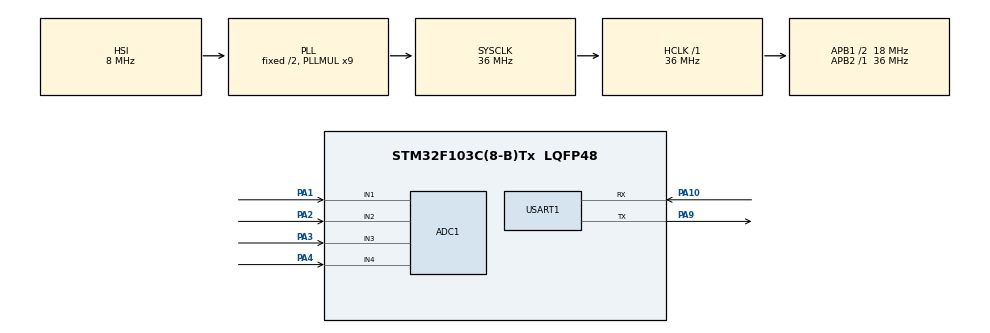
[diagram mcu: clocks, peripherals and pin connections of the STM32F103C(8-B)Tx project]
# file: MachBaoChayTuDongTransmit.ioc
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ADC1.Channel-0\#ChannelRegularConversion=ADC_CHANNEL_1
ADC1.Channel-1\#ChannelRegularConversion=ADC_CHANNEL_2
ADC1.Channel-2\#ChannelRegularConversion=ADC_CHANNEL_3
ADC1.Channel-3\#ChannelRegularConversion=ADC_CHANNEL_4
ADC1.ContinuousConvMode=ENABLE
ADC1.NbrOfConversion=4
ADC1.NbrOfConversionFlag=1
ADC1.Rank-0\#ChannelRegularConversion=1
ADC1.Rank-1\#ChannelRegularConversion=2
ADC1.Rank-2\#ChannelRegularConversion=3
ADC1.Rank-3\#ChannelRegularConversion=4
ADC1.SamplingTime-0\#ChannelRegularConversion=ADC_SAMPLETIME_239CYCLES_5
ADC1.SamplingTime-1\#ChannelRegularConversion=ADC_SAMPLETIME_239CYCLES_5
ADC1.SamplingTime-2\#ChannelRegularConversion=ADC_SAMPLETIME_239CYCLES_5
ADC1.SamplingTime-3\#ChannelRegularConversion=ADC_SAMPLETIME_239CYCLES_5
ADC1.master=1
Dma.ADC1.0.Direction=DMA_PERIPH_TO_MEMORY
Dma.ADC1.0.Instance=DMA1_Channel1
Dma.ADC1.0.MemDataAlignment=DMA_MDATAALIGN_HALFWORD
Dma.ADC1.0.MemInc=DMA_MINC_ENABLE
Dma.ADC1.0.Mode=DMA_CIRCULAR
Dma.ADC1.0.PeriphDataAlignment=DMA_PDATAALIGN_HALFWORD
Dma.ADC1.0.PeriphInc=DMA_PINC_DISABLE
Dma.ADC1.0.Priority=DMA_PRIORITY_LOW
Dma.Request0=ADC1
Mcu.Family=STM32F1
Mcu.Name=STM32F103C(8-B)Tx
Mcu.Package=LQFP48
NVIC.DMA1_Channel1_IRQn=true\:0\:0\:false\:false\:true\:false\:true\:true
NVIC.PriorityGroup=NVIC_PRIORITYGROUP_4
PA1.Signal=ADCx_IN1
PA10.Mode=Asynchronous
PA10.Signal=USART1_RX
PA13.Mode=Serial_Wire
PA13.Signal=SYS_JTMS-SWDIO
PA14.Mode=Serial_Wire
PA14.Signal=SYS_JTCK-SWCLK
PA2.Signal=ADCx_IN2
PA3.Signal=ADCx_IN3
PA4.Signal=ADCx_IN4
PA9.Mode=Asynchronous
PA9.Signal=USART1_TX
PD0-OSC_IN.Mode=HSE-External-Oscillator
PD0-OSC_IN.Signal=RCC_OSC_IN
PD1-OSC_OUT.Mode=HSE-External-Oscillator
PD1-OSC_OUT.Signal=RCC_OSC_OUT
ProjectManager.HeapSize=0x200
ProjectManager.StackSize=0x400
ProjectManager.TargetToolchain=STM32CubeIDE
RCC.ADCPresc=RCC_ADCPCLK2_DIV4
RCC.AHBFreq_Value=36000000
RCC.APB1CLKDivider=RCC_HCLK_DIV2
RCC.APB1Freq_Value=18000000
RCC.APB1TimFreq_Value=36000000
RCC.APB2Freq_Value=36000000
RCC.APB2TimFreq_Value=36000000
RCC.HCLKFreq_Value=36000000
RCC.PLLMUL=RCC_PLL_MUL9
RCC.SYSCLKFreq_VALUE=36000000
RCC.SYSCLKSource=RCC_SYSCLKSOURCE_PLLCLK
RCC.USBFreq_Value=36000000
SH.ADCx_IN1.0=ADC1_IN1,IN1
SH.ADCx_IN2.0=ADC1_IN2,IN2
SH.ADCx_IN3.0=ADC1_IN3,IN3
SH.ADCx_IN4.0=ADC1_IN4,IN4
TIM1.Period=1000
TIM1.Prescaler=8000
USART1.VirtualMode=VM_ASYNC
VP_TIM1_VS_ClockSourceINT.Mode=Internal
board=custom

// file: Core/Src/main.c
/* USER CODE BEGIN Header */
/**
 ******************************************************************************
 * @file           : main.c
 * @brief          : Main program body
 ******************************************************************************
 * @attention
 *
 * Copyright (c) 2024 STMicroelectronics.
 * All rights reserved.
 *
 * This software is licensed under terms that can be found in the LICENSE file
 * in the root directory of this software component.
 * If no LICENSE file comes with this software, it is provided AS-IS.
 *
 ******************************************************************************
 */
/* USER CODE END Header */
#include "main.h"

/* USER CODE BEGIN Includes */
#include <stdio.h>
#include <string.h>
#include <stdlib.h>
/* USER CODE END Includes */

ADC_HandleTypeDef hadc1;
DMA_HandleTypeDef hdma_adc1;

TIM_HandleTypeDef htim1;

UART_HandleTypeDef huart1;

/* USER CODE BEGIN PV */
uint16_t NhietDo, Khoi, KhiGas, Lua;
uint16_t QuetADC4Kenh[4];
char MangKiTuGuiDi[50];
/* USER CODE END PV */

void SystemClock_Config(void);
static void MX_GPIO_Init(void);
static void MX_DMA_Init(void);
static void MX_ADC1_Init(void);
static void MX_TIM1_Init(void);
static void MX_USART1_UART_Init(void);
/* USER CODE BEGIN PFP */
void ADC_Config(void);
void Read_ADC(void);
/* USER CODE END PFP */

int main(void)
{

	/* MCU Configuration--------------------------------------------------------*/

	/* Reset of all peripherals, Initializes the Flash interface and the Systick. */
	HAL_Init();

	/* Configure the system clock */
	SystemClock_Config();

	/* Initialize all configured peripherals */
	MX_GPIO_Init();
	MX_DMA_Init();
	MX_ADC1_Init();
	MX_TIM1_Init();
	MX_USART1_UART_Init();
	/* USER CODE BEGIN 2 */
	HAL_ADC_Start_DMA(&hadc1, (uint32_t*) QuetADC4Kenh, 4);
	/* USER CODE END 2 */

	/* Infinite loop */
	while (1)
	{

		/* USER CODE BEGIN 3 */
		NhietDo = 	(QuetADC4Kenh[0] * 500 / 4095);
		KhiGas 	= 	(QuetADC4Kenh[1] * 100 / 4095);
		Khoi 	= 	((QuetADC4Kenh[2]) * 100 / 4095);
		Lua 	= 	((4095 - QuetADC4Kenh[3]) * 100 / 4095);
		sprintf(MangKiTuGuiDi, "s%d %d %d %d\n", NhietDo, Khoi, KhiGas, Lua);
		HAL_UART_Transmit(&huart1, (uint8_t*) MangKiTuGuiDi,sizeof(MangKiTuGuiDi), HAL_MAX_DELAY);
		HAL_Delay(50);
	}
	/* USER CODE END 3 */
}

void SystemClock_Config(void)
{
	RCC_OscInitTypeDef RCC_OscInitStruct =
	{ 0 };
	RCC_ClkInitTypeDef RCC_ClkInitStruct =
	{ 0 };
	RCC_PeriphCLKInitTypeDef PeriphClkInit =
	{ 0 };

	/** Initializes the RCC Oscillators according to the specified parameters
	 * in the RCC_OscInitTypeDef structure.
	 */
	RCC_OscInitStruct.OscillatorType = RCC_OSCILLATORTYPE_HSI;
	RCC_OscInitStruct.HSIState = RCC_HSI_ON;
	RCC_OscInitStruct.HSICalibrationValue = RCC_HSICALIBRATION_DEFAULT;
	RCC_OscInitStruct.PLL.PLLState = RCC_PLL_ON;
	RCC_OscInitStruct.PLL.PLLSource = RCC_PLLSOURCE_HSI_DIV2;
	RCC_OscInitStruct.PLL.PLLMUL = RCC_PLL_MUL9;
	if (HAL_RCC_OscConfig(&RCC_OscInitStruct) != HAL_OK)
	{
		Error_Handler();
	}

	/** Initializes the CPU, AHB and APB buses clocks
	 */
	RCC_ClkInitStruct.ClockType = RCC_CLOCKTYPE_HCLK | RCC_CLOCKTYPE_SYSCLK
			| RCC_CLOCKTYPE_PCLK1 | RCC_CLOCKTYPE_PCLK2;
	RCC_ClkInitStruct.SYSCLKSource = RCC_SYSCLKSOURCE_PLLCLK;
	RCC_ClkInitStruct.AHBCLKDivider = RCC_SYSCLK_DIV1;
	RCC_ClkInitStruct.APB1CLKDivider = RCC_HCLK_DIV2;
	RCC_ClkInitStruct.APB2CLKDivider = RCC_HCLK_DIV1;

	if (HAL_RCC_ClockConfig(&RCC_ClkInitStruct, FLASH_LATENCY_1) != HAL_OK)
	{
		Error_Handler();
	}
	PeriphClkInit.PeriphClockSelection = RCC_PERIPHCLK_ADC;
	PeriphClkInit.AdcClockSelection = RCC_ADCPCLK2_DIV4;
	if (HAL_RCCEx_PeriphCLKConfig(&PeriphClkInit) != HAL_OK)
	{
		Error_Handler();
	}
}

static void MX_ADC1_Init(void)
{

	ADC_ChannelConfTypeDef sConfig =
	{ 0 };

	/** Common config
	 */
	hadc1.Instance = ADC1;
	hadc1.Init.ScanConvMode = ADC_SCAN_ENABLE;
	hadc1.Init.ContinuousConvMode = ENABLE;
	hadc1.Init.DiscontinuousConvMode = DISABLE;
	hadc1.Init.ExternalTrigConv = ADC_SOFTWARE_START;
	hadc1.Init.DataAlign = ADC_DATAALIGN_RIGHT;
	hadc1.Init.NbrOfConversion = 4;
	if (HAL_ADC_Init(&hadc1) != HAL_OK)
	{
		Error_Handler();
	}

	/** Configure Regular Channel
	 */
	sConfig.Channel = ADC_CHANNEL_1;
	sConfig.Rank = ADC_REGULAR_RANK_1;
	sConfig.SamplingTime = ADC_SAMPLETIME_239CYCLES_5;
	if (HAL_ADC_ConfigChannel(&hadc1, &sConfig) != HAL_OK)
	{
		Error_Handler();
	}

	/** Configure Regular Channel
	 */
	sConfig.Channel = ADC_CHANNEL_2;
	sConfig.Rank = ADC_REGULAR_RANK_2;
	if (HAL_ADC_ConfigChannel(&hadc1, &sConfig) != HAL_OK)
	{
		Error_Handler();
	}

	/** Configure Regular Channel
	 */
	sConfig.Channel = ADC_CHANNEL_3;
	sConfig.Rank = ADC_REGULAR_RANK_3;
	if (HAL_ADC_ConfigChannel(&hadc1, &sConfig) != HAL_OK)
	{
		Error_Handler();
	}

	/** Configure Regular Channel
	 */
	sConfig.Channel = ADC_CHANNEL_4;
	sConfig.Rank = ADC_REGULAR_RANK_4;
	if (HAL_ADC_ConfigChannel(&hadc1, &sConfig) != HAL_OK)
	{
		Error_Handler();
	}

}

static void MX_TIM1_Init(void)
{

	TIM_ClockConfigTypeDef sClockSourceConfig =
	{ 0 };
	TIM_MasterConfigTypeDef sMasterConfig =
	{ 0 };

	htim1.Instance = TIM1;
	htim1.Init.Prescaler = 8000;
	htim1.Init.CounterMode = TIM_COUNTERMODE_UP;
	htim1.Init.Period = 1000;
	htim1.Init.ClockDivision = TIM_CLOCKDIVISION_DIV1;
	htim1.Init.RepetitionCounter = 0;
	htim1.Init.AutoReloadPreload = TIM_AUTORELOAD_PRELOAD_DISABLE;
	if (HAL_TIM_Base_Init(&htim1) != HAL_OK)
	{
		Error_Handler();
	}
	sClockSourceConfig.ClockSource = TIM_CLOCKSOURCE_INTERNAL;
	if (HAL_TIM_ConfigClockSource(&htim1, &sClockSourceConfig) != HAL_OK)
	{
		Error_Handler();
	}
	sMasterConfig.MasterOutputTrigger = TIM_TRGO_RESET;
	sMasterConfig.MasterSlaveMode = TIM_MASTERSLAVEMODE_DISABLE;
	if (HAL_TIMEx_MasterConfigSynchronization(&htim1, &sMasterConfig) != HAL_OK)
	{
		Error_Handler();
	}

}

static void MX_USART1_UART_Init(void)
{

	huart1.Instance = USART1;
	huart1.Init.BaudRate = 115200;
	huart1.Init.WordLength = UART_WORDLENGTH_8B;
	huart1.Init.StopBits = UART_STOPBITS_1;
	huart1.Init.Parity = UART_PARITY_NONE;
	huart1.Init.Mode = UART_MODE_TX_RX;
	huart1.Init.HwFlowCtl = UART_HWCONTROL_NONE;
	huart1.Init.OverSampling = UART_OVERSAMPLING_16;
	if (HAL_UART_Init(&huart1) != HAL_OK)
	{
		Error_Handler();
	}

}

static void MX_DMA_Init(void)
{

	/* DMA controller clock enable */
	__HAL_RCC_DMA1_CLK_ENABLE();

	/* DMA interrupt init */
	/* DMA1_Channel1_IRQn interrupt configuration */
	HAL_NVIC_SetPriority(DMA1_Channel1_IRQn, 0, 0);
	HAL_NVIC_EnableIRQ(DMA1_Channel1_IRQn);

}

static void MX_GPIO_Init(void)
{

	/* GPIO Ports Clock Enable */
	__HAL_RCC_GPIOD_CLK_ENABLE();
	__HAL_RCC_GPIOA_CLK_ENABLE();

}

void Error_Handler(void)
{
	__disable_irq();
	while (1)
	{
	}
}
